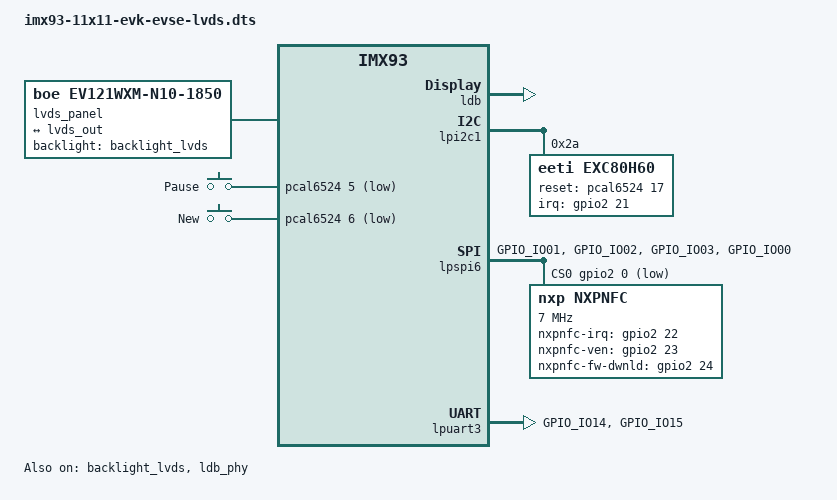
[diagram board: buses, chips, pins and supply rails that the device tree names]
// SPDX-License-Identifier: (GPL-2.0+ OR MIT)
/*
 * Copyright 2025 NXP
 */

#include "imx93-11x11-evk.dts"

/delete-node/ &dsi_to_adv7535;
/delete-node/ &adv7535_to_dsi;

/ {
	lvds_panel {
		compatible = "boe,ev121wxm-n10-1850";
		backlight = <&backlight_lvds>;

		port {
			panel_lvds_in: endpoint {
				remote-endpoint = <&lvds_out>;
			};
		};
	};
	sw_keys {
		compatible = "gpio-keys";

		btn1: pause {
			label = "Pause";
			gpios = <&pcal6524 5 GPIO_ACTIVE_LOW>;
			linux,code = <KEY_PAUSE>;
			interrupt-parent = <&pcal6524>;
			interrupts = <5 IRQ_TYPE_LEVEL_LOW>;
		};

		btn2: new {
			label = "New";
			gpios = <&pcal6524 6 GPIO_ACTIVE_LOW>;
			linux,code = <KEY_NEW>;
			interrupt-parent = <&pcal6524>;
			interrupts = <6 IRQ_TYPE_LEVEL_LOW>;
		};
	};
};

&adv7535 {
	status = "disabled";
};

&backlight_lvds {
	status = "okay";
};

&dphy {
	status = "disabled";
};

&dsi {
	status = "disabled";
};

&lcdif {
	assigned-clock-rates = <498000000>, <71142857>, <400000000>, <133333333>;
};

&ldb {
	status = "okay";

	lvds-channel@0 {
		status = "okay";

		port@1 {
			reg = <1>;

			lvds_out: endpoint {
				remote-endpoint = <&panel_lvds_in>;
			};
		};
	};
};

&ldb_phy {
	status = "okay";
};

&lpi2c1 {
	/* TODO: do we need it? it is not in LVDS support
	   https://github.com/nxp-imx/linux-imx/commit/f867d4740f968f700f64b01450194bbe79eaa483
	*/
	exc80h60: touch@2a {
		compatible = "eeti,exc80h60";
		reg = <0x2a>;
		pinctrl-names = "default";
		pinctrl-0 = <&pinctrl_ctp_int>;
		/*
		 * Need to do hardware rework here:
		 * remove R131, short R181
		 */
		interrupt-parent = <&gpio2>;
		interrupts = <21 IRQ_TYPE_LEVEL_LOW>;
		reset-gpios = <&pcal6524 17 GPIO_ACTIVE_HIGH>;
		status = "okay";
	};
};

&lpspi6 {
	fsl,spi-num-chipselects = <1>;
	pinctrl-names = "default", "sleep";
	pinctrl-0 = <&pinctrl_lpspi6 &pinctrl_lpspi6_cs>;
	pinctrl-1 = <&pinctrl_lpspi6 &pinctrl_lpspi6_cs>;
	cs-gpios = <&gpio2 0 GPIO_ACTIVE_LOW>;
	status = "okay";

	nxpnfc: nxpnfc@0 {
		compatible = "nxp,nxpnfc";
		reg = <0>;
		nxp,nxpnfc-irq = <&gpio2 22 GPIO_ACTIVE_HIGH>;
		nxp,nxpnfc-ven = <&gpio2 23 GPIO_ACTIVE_HIGH>;
		nxp,nxpnfc-fw-dwnld = <&gpio2 24 GPIO_ACTIVE_HIGH>;
		spi-max-frequency = <7000000>;
	};
};

&lpuart3 { /* Meter Board*/
	pinctrl-names = "default";
	pinctrl-0 = <&pinctrl_uart3>;
	status = "okay";
};

&xcvr {
	status = "disabled";
};

&iomuxc {
	pinctrl_lpspi6: lpspi6grp {
		fsl,pins = <
			MX93_PAD_GPIO_IO01__LPSPI6_SIN		0x3fe
			MX93_PAD_GPIO_IO02__LPSPI6_SOUT		0x3fe
			MX93_PAD_GPIO_IO03__LPSPI6_SCK		0x3fe
		>;
	};

	pinctrl_lpspi6_cs: lpspi6cs {
		fsl,pins = <
			MX93_PAD_GPIO_IO00__GPIO2_IO00		0x3fe
		>;
	};

	pinctrl_uart3: uart3grp {
		fsl,pins = <
			MX93_PAD_GPIO_IO14__LPUART3_TX		0x31e
			MX93_PAD_GPIO_IO15__LPUART3_RX		0x31e
		>;
	};

	/* TODO: do we need it? it is not in LVDS support
	   https://github.com/nxp-imx/linux-imx/commit/f867d4740f968f700f64b01450194bbe79eaa483
	*/
	pinctrl_ctp_int: ctp_int_grp {
		fsl,pins = <
			MX93_PAD_GPIO_IO21__GPIO2_IO21          0x31e
		>;
	};
};
